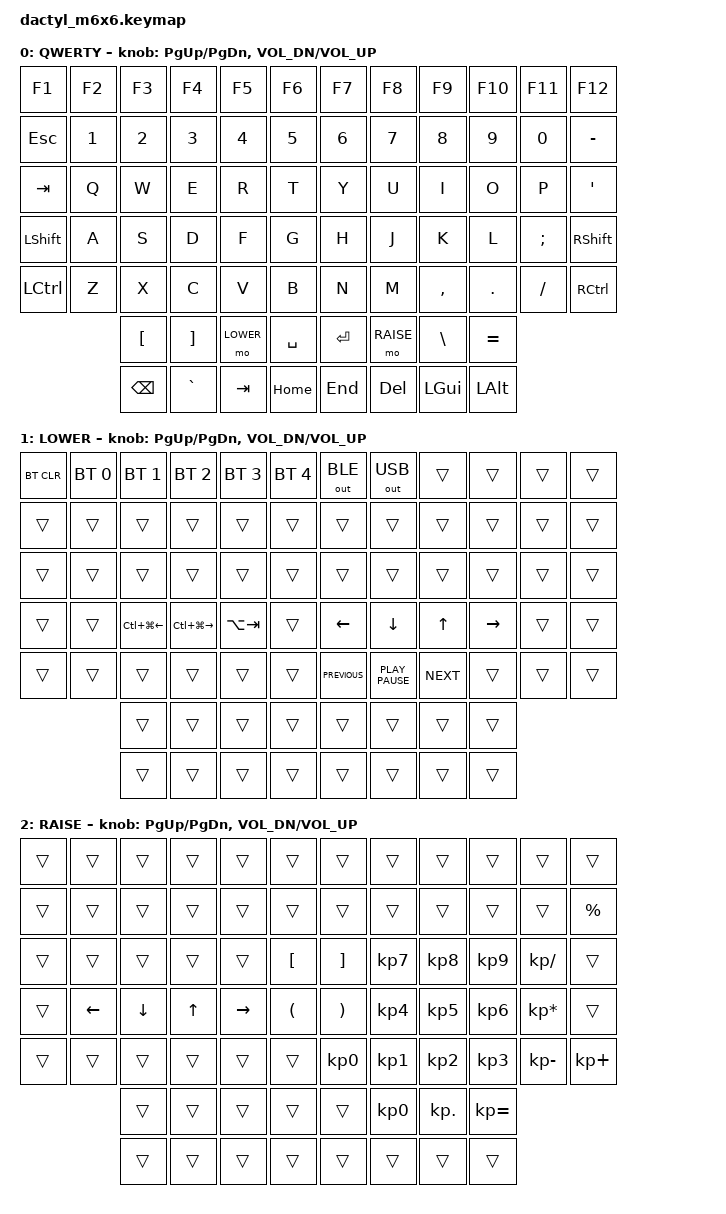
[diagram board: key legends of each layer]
/*
 * Copyright (c) 2020 The ZMK Contributors
 *
 * SPDX-License-Identifier: MIT
 */

#include <behaviors.dtsi>
#include <dt-bindings/zmk/keys.h>
#include <dt-bindings/zmk/bt.h>
#include <dt-bindings/zmk/outputs.h>
#include <dt-bindings/zmk/ext_power.h>

#define QWERTY 0
#define LOWER 1
#define RAISE 2

/ {
	keymap {
		compatible = "zmk,keymap";

		default_layer {
			display-name = "QWERTY";

            bindings = <
&kp F1            &kp F2  &kp F3         &kp F4     &kp F5     &kp F6     &kp F7     &kp F8     &kp F9     &kp F10    &kp F11   &kp F12
&kp ESCAPE        &kp N1  &kp N2         &kp N3     &kp N4     &kp N5     &kp N6     &kp N7     &kp N8     &kp N9     &kp N0    &kp MINUS
&kp TAB           &kp Q   &kp W          &kp E      &kp R      &kp T      &kp Y      &kp U      &kp I      &kp O      &kp P     &kp SQT
&kp LSHIFT        &kp A   &kp S          &kp D      &kp F      &kp G      &kp H      &kp J      &kp K      &kp L      &kp SEMI  &kp RSHFT
&kp LEFT_CONTROL  &kp Z   &kp X          &kp C      &kp V      &kp B      &kp N      &kp M      &kp COMMA  &kp DOT    &kp FSLH  &kp RCTRL
                          &kp LBKT       &kp RBKT   &mo LOWER  &kp SPACE  &kp ENTER  &mo RAISE  &kp BSLH   &kp EQUAL
                          &kp BACKSPACE  &kp GRAVE  &kp TAB    &kp HOME   &kp END    &kp DEL    &kp LGUI   &kp LALT
            >;

			sensor-bindings = <&inc_dec_kp PG_UP PG_DN &inc_dec_kp C_VOL_DN C_VOL_UP>;
		};

        lower_layer {
            display-name = "LOWER";
            bindings = <
&bt BT_CLR  &bt BT_SEL 0  &bt BT_SEL 1      &bt BT_SEL 2       &bt BT_SEL 3  &bt BT_SEL 4  &out OUT_BLE    &out OUT_USB      &trans        &trans           &trans  &trans
&trans      &trans        &trans            &trans             &trans        &trans        &trans          &trans            &trans        &trans           &trans  &trans
&trans      &trans        &trans            &trans             &trans        &trans        &trans          &trans            &trans        &trans           &trans  &trans
&trans      &trans        &kp LC(LG(LEFT))  &kp LC(LG(RIGHT))  &kp LA(TAB)   &trans        &kp LEFT_ARROW  &kp DOWN_ARROW    &kp UP_ARROW  &kp RIGHT_ARROW  &trans  &trans
&trans      &trans        &trans            &trans             &trans        &trans        &kp K_PREVIOUS  &kp K_PLAY_PAUSE  &kp K_NEXT    &trans           &trans  &trans
                          &trans            &trans             &trans        &trans        &trans          &trans            &trans        &trans
                          &trans            &trans             &trans        &trans        &trans          &trans            &trans        &trans
            >;

            sensor-bindings = <&inc_dec_kp PG_UP PG_DN &inc_dec_kp C_VOL_DN C_VOL_UP>;
        };

		raise_layer {
			display-name = "RAISE";

			bindings = <
&trans    &trans &trans &trans   &trans   &trans                     &trans &trans   &trans    &trans  &trans &trans
&trans    &trans &trans &trans     &trans   &trans                   &trans &trans   &trans    &trans  &trans &kp PRCNT
&trans    &trans &trans &trans     &trans   &kp LBKT                 &kp RBKT  &kp KP_N7  &kp KP_N8  &kp KP_N9    &kp KP_DIVIDE  &trans
&trans    &kp LEFT  &kp DOWN &kp UP &kp RIGHT &kp LPAR               &kp RPAR  &kp KP_N4  &kp KP_N5  &kp KP_N6    &kp KP_MULTIPLY  &trans
&trans    &trans &trans &trans   &trans   &trans                     &kp KP_N0 &kp KP_N1  &kp KP_N2  &kp KP_N3    &kp KP_MINUS &kp KP_PLUS
                 &trans &trans       &trans   &trans              &trans    &kp KP_N0  &kp KP_DOT &kp KP_EQUAL
                        &trans &trans   &trans   &trans         &trans &trans     &trans    &trans
			>;

            sensor-bindings = <&inc_dec_kp PG_UP PG_DN &inc_dec_kp C_VOL_DN C_VOL_UP>;
		};
	};
};
